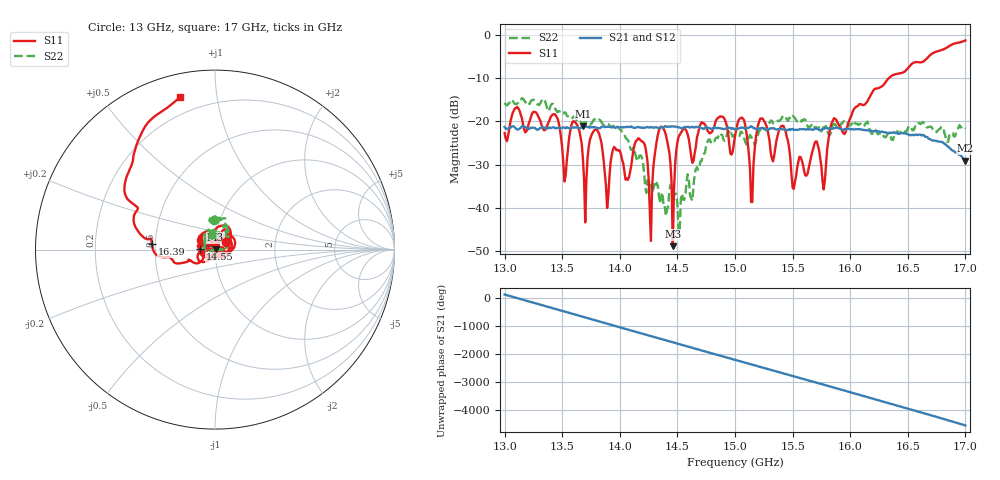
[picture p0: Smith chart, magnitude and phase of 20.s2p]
!Keysight Technologies,P9374A,MY57211807,A.19.30.04
!Date: Friday, May 01, 2026 14:48:46
!Correction: S11(C  2-Port  )
!S21(C  2-Port  )
!S12(C  2-Port  )
!S22(C  2-Port  )
!S2P File: Measurements: S11, S21, S12, S22:
# Hz S  RI  R 50
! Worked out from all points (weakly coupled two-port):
!   401 points, 13 GHz to 17 GHz, reference 50 ohm
!   highest |S21| = -21.04 dB at 13.68 GHz (marker M1); lowest = -29.1 dB at 17 GHz (marker M2)
!   lowest |S11| = -49.0 dB at 14.46 GHz (marker M3), VSWR 1.01, Z = 50.3 + j0.0788 ohm
!   |S11| at or under -10 dB: start of sweep to 16.33 GHz
!   |S22| runs from -45.9 to -14.6 dB; largest |S21 - S12| = 0.0028
!   S11 on the Smith chart (normalised r, x): 13 GHz: 1.12, +0.10; 14.55 GHz: 0.85, +0.01; 16.39 GHz: 0.48, +0.03; 17 GHz: 0.11, +0.79
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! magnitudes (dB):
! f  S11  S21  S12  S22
! 13 GHz  -22.7  -21.3  -21.3  -15.7
! 13.67 GHz  -25.3  -21.2  -21.2  -20.5
! 13.68 GHz  -28.7  -21.0  -21.1  -20.3
! 13.78 GHz  -22.0  -21.3  -21.3  -19.5
! 13.89 GHz  -40.1  -21.2  -21.2  -20.6
! 14.18 GHz  -24.4  -21.4  -21.4  -27.9
! 14.27 GHz  -47.8  -21.3  -21.2  -34.4
! 14.34 GHz  -22.1  -21.5  -21.5  -37.3
! 14.46 GHz  -49.0  -21.1  -21.2  -37.1
! 14.55 GHz  -21.8  -21.5  -21.4  -38.2
! 15 GHz  -23.4  -21.9  -21.8  -23.3
! 15.07 GHz  -19.4  -21.4  -21.4  -23.0
! 15.14 GHz  -38.7  -21.1  -21.1  -23.5
! 15.23 GHz  -19.3  -21.5  -21.5  -21.3
! 15.43 GHz  -21.7  -21.8  -21.8  -18.9
! 15.51 GHz  -35.7  -21.9  -21.9  -19.0
! 15.67 GHz  -27.1  -21.9  -21.9  -20.6
! 15.77 GHz  -35.8  -21.8  -21.8  -21.3
! 15.85 GHz  -19.8  -21.6  -21.6  -20.8
! 16.34 GHz  -9.8  -22.6  -22.6  -23.0
! 16.39 GHz  -9.1  -22.7  -22.7  -23.0
! 17 GHz  -1.2  -29.1  -29.1  -21.7
